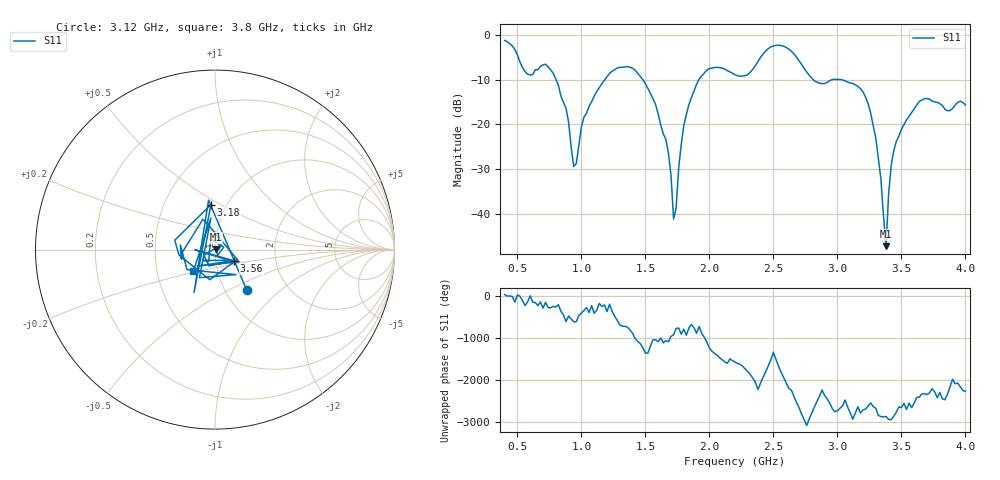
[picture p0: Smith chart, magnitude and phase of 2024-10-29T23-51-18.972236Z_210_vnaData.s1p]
!Created with skrf (http://scikit-rf.org).
# Hz S RI R 50.0
!freq ReS11 ImS11
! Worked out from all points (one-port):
!   181 points, 400 MHz to 4 GHz, reference 50 ohm
!   lowest |S11| = -47.2 dB at 3.38 GHz (marker M1), VSWR 1.01, Z = 50.4 + j0.107 ohm
!   |S11| at or under -10 dB: 802.3 MHz to 1.183 GHz (381 MHz wide, 38.4 % of centre); 1.48 GHz to 1.917 GHz (437.6 MHz wide, 25.8 % of centre); 3.031 GHz to end of sweep (the widest 3 of 4)
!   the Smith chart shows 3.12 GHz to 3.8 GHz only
!   S11 on the Smith chart (normalised r, x): 3.12 GHz: 1.26, -0.62; 3.18 GHz: 0.85, +0.45; 3.56 GHz: 1.23, -0.15; 3.8 GHz: 0.76, -0.19
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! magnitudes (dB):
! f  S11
! 400 MHz  -1.2
! 580 MHz  -8.8
! 740 MHz  -7.1
! 860 MHz  -15.1
! 940 MHz  -29.4
! 1.02 GHz  -18.4
! 1.3 GHz  -7.2
! 1.58 GHz  -15.6
! 1.68 GHz  -26.4
! 1.72 GHz  -41.1
! 1.74 GHz  -38.7
! 1.76 GHz  -29.7
! 1.8 GHz  -20.2
! 1.92 GHz  -9.8
! 2.2 GHz  -8.9
! 2.5 GHz  -2.5
! 2.66 GHz  -4.2
! 2.84 GHz  -10.6
! 3.1 GHz  -10.7
! 3.12 GHz  -10.9
! 3.18 GHz  -12.0
! 3.3 GHz  -23.1
! 3.38 GHz  -47.2
! 3.4 GHz  -35.6
! 3.44 GHz  -25.9
! 3.56 GHz  -18.2
! 3.8 GHz  -15.3
! 4 GHz  -15.6
